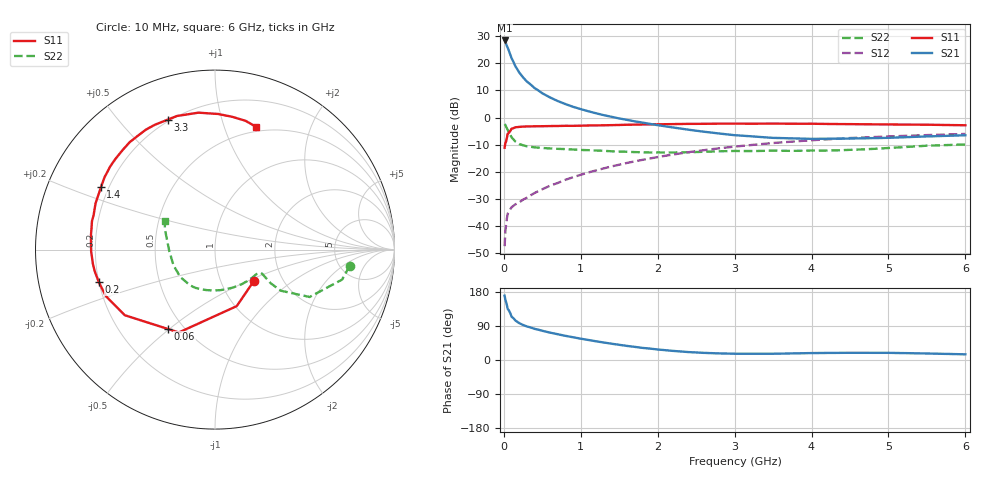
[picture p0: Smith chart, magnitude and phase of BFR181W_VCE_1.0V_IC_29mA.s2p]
! Infineon Technologies  Discrete & RF Semiconductors
! BFR181W
! VCE =  1.0 V,  IC =  29 mA
! Common Emitter S-Parameters:  Jan 2017
# GHz  S  MA  R  50
!  f  S11  S21  S12  S22
! GHz  MAG  ANG  MAG  ANG  MAG  ANG  MAG  ANG
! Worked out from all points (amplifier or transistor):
!   77 points, 10 MHz to 6 GHz, reference 50 ohm
!   highest |S21| = 28.3 dB at 10 MHz (marker M1)
!   |S21| within 3 dB of that: start of sweep to 54.55 MHz
!   unconditionally stable (mu >= 1): start of sweep to 19.85 MHz; 152.5 MHz to end of sweep
!   at 130 MHz: K = 0.91, MSG = 26.3 dB, |S12| = -32.4 dB
!   at 2.2 GHz: K = 1.44, MAG = 1.0 dB, |S12| = -13.6 dB
!   at 6 GHz: K = 1.26, MAG = -3.3 dB, |S12| = -6.0 dB
!   S11 on the Smith chart (normalised r, x): 10 MHz: 1.44, -0.54; 60 MHz: 0.41, -0.50; 200 MHz: 0.20, -0.13; 1.4 GHz: 0.17, +0.25; 3.3 GHz: 0.19, +0.68; 6 GHz: 0.45, +1.29
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0.01  0.2782 -38.3  26.15 169.8  0.0043 63.5  0.7563 -6.9
0.02  0.3374 -69.0  24.87 158.9  0.0081 64.6  0.7273 -13.3
0.05  0.5037 -113.6  19.21 135.2  0.017 52.7  0.59 -26.6
0.06  0.5141 -120.6  17.7 132.4  0.018 51.0  0.5582 -27.4
0.1  0.6217 -144.0  12.34 114.4  0.0223 45.9  0.4326 -32.0
0.15  0.6612 -157.0  8.794 104.2  0.0253 47.0  0.3604 -31.1
0.2  0.6724 -164.4  6.748 97.3  0.0274 47.6  0.3258 -29.2
0.25  0.6808 -169.7  5.469 92.4  0.0309 50.7  0.3081 -28.0
0.3  0.685 -173.4  4.586 88.5  0.0335 53.6  0.2953 -27.1
0.4  0.6901 -179.1  3.479 82.2  0.0409 59.5  0.2828 -27.1
0.5  0.6921 176.7  2.793 77.1  0.0479 62.9  0.2753 -28.2
0.6  0.696 173.0  2.34 72.3  0.0557 65.5  0.2697 -30.1
0.7  0.6986 169.9  2.012 68.0  0.0624 68.2  0.2655 -32.2
0.9  0.7028 164.1  1.574 60.0  0.0798 70.2  0.2579 -38.1
1.1  0.7136 158.8  1.301 52.8  0.0976 71.6  0.2507 -44.5
1.4  0.7244 151.4  1.031 43.0  0.126 71.8  0.2393 -55.8
2.1  0.7532 135.0  0.689 25.9  0.1979 67.3  0.227 -87.0
3.1  0.7706 113.8  0.463 16.5  0.3008 55.7  0.2417 -128.0
3.3  0.7704 109.9  0.442 16.5  0.32 53.1  0.2424 -134.8
4.1  0.7647 95.3  0.406 18.4  0.389 42.7  0.2464 -162.8
5.1  0.7437 81.4  0.428 18.5  0.4538 30.4  0.2801 165.2
6  0.7207 71.4  0.471 15.0  0.4989 20.7  0.3199 150.4
